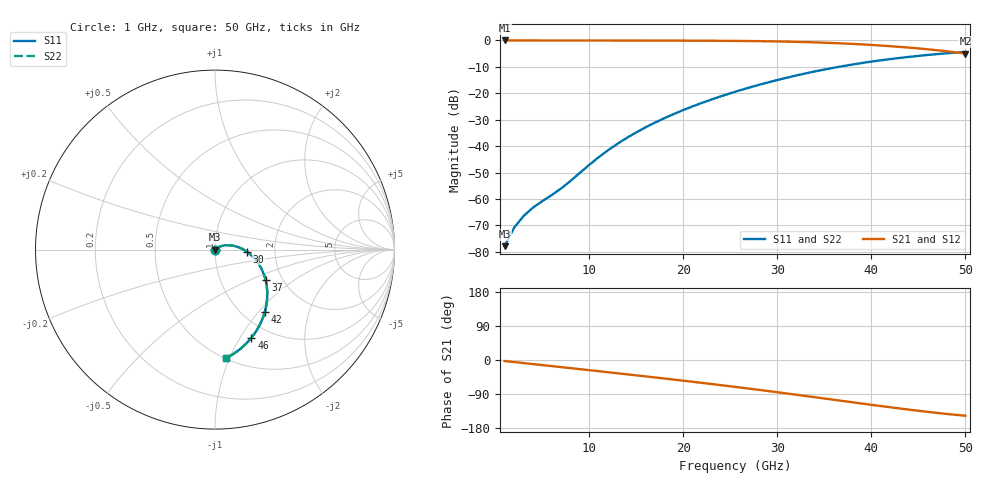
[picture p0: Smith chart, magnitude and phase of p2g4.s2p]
! Impedora 0.10.0 via model, case p2g4 (fullwave/cases.json), 2026-11-19
! One plane pair, four stitching vias: ports in the antipads.
! Ports: 1 = upper end, 2 = lower end, 50 ohm.
! Compared with the fine 3D mesh.
# Hz S RI R 50
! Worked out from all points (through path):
!   50 points, 1 GHz to 50 GHz, reference 50 ohm
!   highest |S21| = 0.00 dB at 1 GHz (marker M1); lowest = -4.9 dB at 50 GHz (marker M2)
!   group delay of S21, straight-line fit = 8.38 ps
!   lowest |S11| = -77.9 dB at 1 GHz (marker M3), VSWR 1.00, Z = 50 - j0.0121 ohm
!   |S11| at or under -10 dB: start of sweep to 36.53 GHz
!   |S22| runs from -77.9 to -4.3 dB; largest |S21 - S12| = 0
!   S11 on the Smith chart (normalised r, x): 1 GHz: 1.00, -0.00; 30 GHz: 1.43, -0.03; 37 GHz: 1.64, -0.61; 42 GHz: 1.25, -1.08; 46 GHz: 0.82, -1.12; 50 GHz: 0.51, -0.97
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1e9  3.95e-05 -0.000121  0.9989 -0.0467  0.9989 -0.0467  3.95e-05 -0.000121
2e9  0.000153 -0.000239  0.9955 -0.0933  0.9955 -0.0933  0.000153 -0.000239
3e9  0.000327 -0.000341  0.9898 -0.1397  0.9898 -0.1397  0.000327 -0.000341
4e9  0.000551 -0.000401  0.982 -0.1857  0.982 -0.1857  0.000551 -0.000401
7e9  0.00157 5.41e-05  0.9456 -0.3208  0.9456 -0.3208  0.00157 5.41e-05
1e10  0.0038 0.00225  0.8903 -0.45  0.8903 -0.45  0.0038 0.00225
1.2e10  0.00672 0.00496  0.8432 -0.5319  0.8432 -0.5319  0.00672 0.00496
1.4e10  0.0115 0.00861  0.788 -0.6094  0.788 -0.6094  0.0115 0.00861
1.6e10  0.0186 0.013  0.7247 -0.6819  0.7247 -0.6819  0.0186 0.013
1.8e10  0.029 0.0175  0.6535 -0.7484  0.6535 -0.7484  0.029 0.0175
2.2e10  0.0613 0.0242  0.4883 -0.8596  0.4883 -0.8596  0.0613 0.0242
2.6e10  0.1118 0.0191  0.2952 -0.9325  0.2952 -0.9325  0.1118 0.0191
3e10  0.1779 -0.0117  0.0823 -0.9539  0.0823 -0.9539  0.1779 -0.0117
3.2e10  0.213 -0.0417  -0.0264 -0.9408  -0.0264 -0.9408  0.213 -0.0417
3.4e10  0.2456 -0.0833  -0.132 -0.9102  -0.132 -0.9102  0.2456 -0.0833
3.7e10  0.2815 -0.1672  -0.2755 -0.8328  -0.2755 -0.8328  0.2815 -0.1672
4e10  0.2908 -0.2709  -0.389 -0.7243  -0.389 -0.7243  0.2908 -0.2709
4.2e10  0.2782 -0.3456  -0.4435 -0.6406  -0.4435 -0.6406  0.2782 -0.3456
4.4e10  0.249 -0.4204  -0.4794 -0.5527  -0.4794 -0.5527  0.249 -0.4204
4.6e10  0.2031 -0.4912  -0.4962 -0.4648  -0.4962 -0.4648  0.2031 -0.4912
4.8e10  0.1405 -0.5539  -0.4942 -0.3815  -0.4942 -0.3815  0.1405 -0.5539
5e10  0.063 -0.6036  -0.4746 -0.3077  -0.4746 -0.3077  0.063 -0.6036
